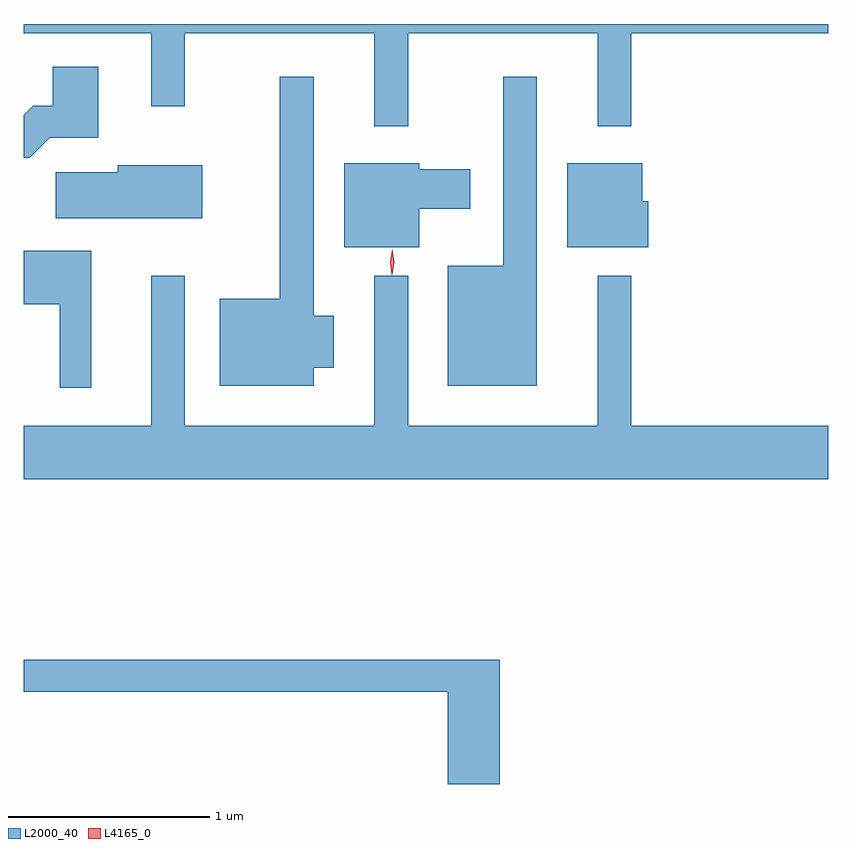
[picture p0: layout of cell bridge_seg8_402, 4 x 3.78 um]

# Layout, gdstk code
import gdstk
lib = gdstk.Library(unit=1e-6, precision=1e-09)
def P(c, l, *ps):  # polygons
    for p in ps: c.add(gdstk.Polygon(p, *l))
L2000_40 = (2000, 40)
L4165_0 = (4165, 0)

bridge_seg8_402 = lib.new_cell('bridge_seg8_402')
P(bridge_seg8_402, L2000_40, [(705.319,1831.976),(706.261,1831.976),(706.261,1831.513),(706.429,1831.513),(706.429,1831.976),(707.408,1831.976),(707.408,1832.021),(703.408,1832.021),(703.408,1831.976),(704.041,1831.976),(704.041,1831.613),(704.209,1831.613),(704.209,1831.976),(705.151,1831.976),(705.151,1831.513),(705.319,1831.513)],
  [(703.537,1831.456),(703.779,1831.456),(703.779,1831.809),(703.551,1831.809),(703.551,1831.614),(703.454,1831.614),(703.408,1831.568),(703.408,1831.356),(703.437,1831.356)],
  [(705.959,1831.758),(705.791,1831.758),(705.791,1830.819),(705.516,1830.819),(705.516,1830.221),(705.959,1830.221)],
  [(704.849,1830.311),(704.949,1830.311),(704.949,1830.569),(704.849,1830.569),(704.849,1831.758),(704.681,1831.758),(704.681,1830.654),(704.381,1830.654),(704.381,1830.221),(704.849,1830.221)],
  [(706.514,1831.139),(706.484,1831.139),(706.484,1831.329),(706.111,1831.329),(706.111,1830.911),(706.514,1830.911)],
  [(705.374,1831.101),(705.629,1831.101),(705.629,1831.299),(705.374,1831.299),(705.374,1831.329),(705.001,1831.329),(705.001,1830.911),(705.374,1830.911)],
  [(704.294,1831.319),(703.876,1831.319),(703.876,1831.284),(703.566,1831.284),(703.566,1831.056),(704.294,1831.056)],
  [(703.744,1830.894),(703.408,1830.894),(703.408,1830.626),(703.586,1830.626),(703.586,1830.213),(703.744,1830.213)],
  [(707.408,1830.024),(706.429,1830.024),(706.429,1830.768),(706.261,1830.768),(706.261,1830.024),(705.319,1830.024),(705.319,1830.768),(705.151,1830.768),(705.151,1830.024),(704.209,1830.024),(704.209,1830.768),(704.041,1830.768),(704.041,1830.024),(703.408,1830.024),(703.408,1829.756),(707.408,1829.756)],
  [(705.774,1828.859),(703.408,1828.859),(703.408,1828.701),(705.516,1828.701),(705.516,1828.241),(705.774,1828.241)])
P(bridge_seg8_402, L4165_0, [(705.238,1830.773),(705.229,1830.837),(705.239,1830.9),(705.24,1830.901),(705.24,1830.9),(705.249,1830.837),(705.239,1830.773),(705.239,1830.773)])

lib.write_gds('bridge_seg8_402.gds')
